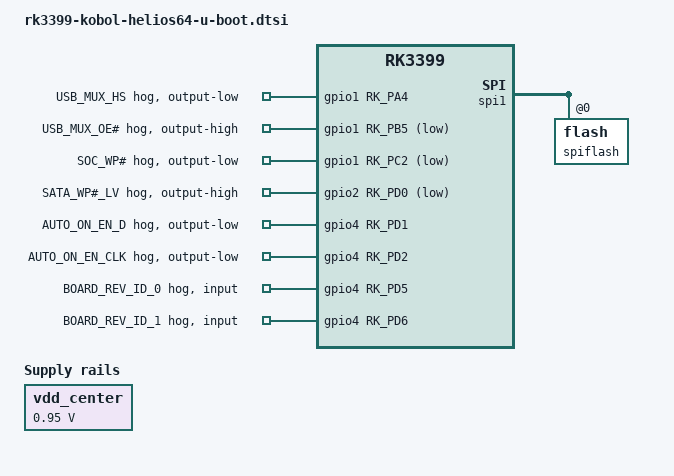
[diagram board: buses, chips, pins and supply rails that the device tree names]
// SPDX-License-Identifier: (GPL-2.0+ OR MIT)

#include "rk3399-u-boot.dtsi"
#include "rk3399-sdram-lpddr4-100.dtsi"

&aliases {
	ethernet0 = &gmac;
	ethernet1 = &usb_lan;
	spi0 = &spi1;
	spi1 = &spi2;
	spi2 = &spi5;
};

&chosen {
	bootargs = "earlycon=uart8250,mmio32,0xff1a0000 earlyprintk";
	stdout-path = "serial2:1500000n8";
	u-boot,spl-boot-order = "same-as-spl", &spiflash, &sdmmc, &sdhci;
};

/ {
	config {
		u-boot,spl-payload-offset = <0x80000>; /* @ 512KB */
	};
};

&gpio1 {
	usb-mux-hs {
		gpio-hog;
		gpios = <RK_PA4 GPIO_ACTIVE_HIGH>;
		output-low;
		line-name = "USB_MUX_HS";
	};

	usb-mux-oe {
		gpio-hog;
		gpios = <RK_PB5 GPIO_ACTIVE_LOW>;
		output-high;
		line-name = "USB_MUX_OE#";
	};

	soc-flash-wp {
		gpio-hog;
		gpios = <RK_PC2 GPIO_ACTIVE_LOW>;
		output-low;
		line-name = "SOC_WP#";
	};
};

&gpio2 {
	sata-flash-wp {
		gpio-hog;
		gpios = <RK_PD0 GPIO_ACTIVE_LOW>;
		output-high;
		line-name = "SATA_WP#_LV";
	};
};

&gpio4 {
	auto-on-en-d {
		gpio-hog;
		gpios = <RK_PD1 GPIO_ACTIVE_HIGH>;
		output-low;
		line-name = "AUTO_ON_EN_D";
	};

	auto-on-en-clk {
		gpio-hog;
		gpios = <RK_PD2 GPIO_ACTIVE_HIGH>;
		output-low;
		line-name = "AUTO_ON_EN_CLK";
	};

	board-rev-id-0 {
		gpio-hog;
		gpios = <RK_PD5 GPIO_ACTIVE_HIGH>;
		input;
		line-name = "BOARD_REV_ID_0";
	};

	board-rev-id-1 {
		gpio-hog;
		gpios = <RK_PD6 GPIO_ACTIVE_HIGH>;
		input;
		line-name = "BOARD_REV_ID_1";
	};
};

&pcie_prst {
	rockchip,pins =
		<2 RK_PD4 RK_FUNC_GPIO &pcfg_output_low>;
};

&pcie_pwr_en {
	rockchip,pins =
		<1 RK_PD0 RK_FUNC_GPIO &pcfg_output_low>;
};

&pinctrl {
	usb {
		usb_mux_hs: usb-mux-hs {
			rockchip,pins =
				<1 RK_PA4 RK_FUNC_GPIO &pcfg_pull_none>;
		};

		usb_mux_oe: usb-mux-oe {
			rockchip,pins =
				<1 RK_PB5 RK_FUNC_GPIO &pcfg_pull_none>;
		};
	};
};

&spi1 {
	spiflash: flash@0 {
		u-boot,dm-pre-reloc;
	};
};

&vdd_center {
	regulator-min-microvolt = <950000>;
	regulator-max-microvolt = <950000>;
	regulator-init-microvolt = <950000>;
};

&vdd_log {
	regulator-init-microvolt = <930000>;
};
